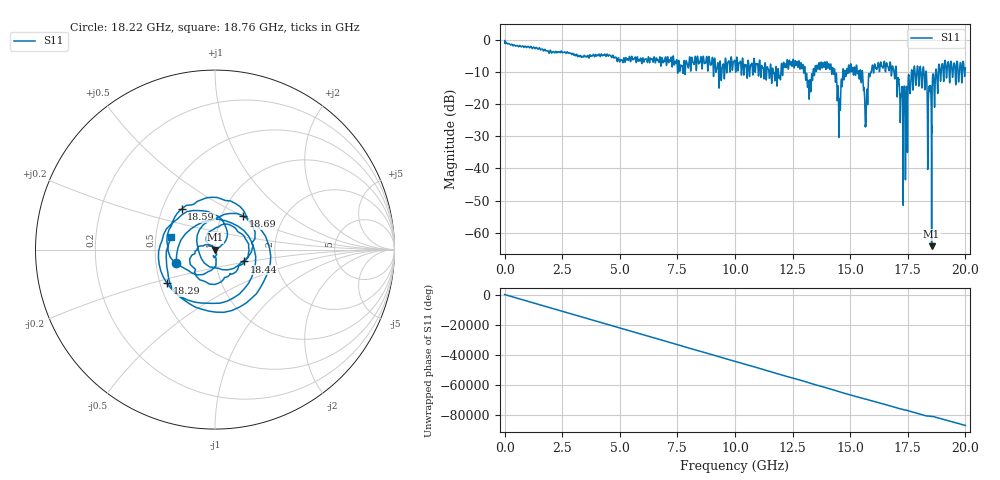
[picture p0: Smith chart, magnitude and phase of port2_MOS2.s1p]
! MS46122B
! 2250307/22442219
! 6/12/2025 7:36:36 AM
! C:\USERS\SPARKY\DOCUMENTS\VNA_DATA\JUNE12_2025\3.1 KELVIN\PORT2.S1P
! CHANNEL.1
! TR.MEASUREMENT
! RAW.DATA
# GHZ S RI R 50.0
! FREQ.GHZ  S11RE  S11IM
!; PortSelection: Port_1
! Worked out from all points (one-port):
!   10001 points, 1 MHz to 20 GHz, reference 50 ohm
!   lowest |S11| = -64.2 dB at 18.53 GHz (marker M1), VSWR 1.00, Z = 50 + j0.0495 ohm
!   |S11| at or under -10 dB: 15.53 GHz to 15.92 GHz (380.8 MHz wide, 2.42 % of centre); 17.01 GHz to 17.65 GHz (647.1 MHz wide, 3.73 % of centre); 18.3 GHz to 18.71 GHz (406.6 MHz wide, 2.2 % of centre) (the widest 3 of 63)
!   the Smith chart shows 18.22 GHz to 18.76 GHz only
!   S11 on the Smith chart (normalised r, x): 18.22 GHz: 0.64, -0.10; 18.29 GHz: 0.54, -0.23; 18.44 GHz: 1.38, -0.19; 18.59 GHz: 0.63, +0.31; 18.69 GHz: 1.26, +0.50; 18.76 GHz: 0.60, +0.09
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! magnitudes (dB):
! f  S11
! 1 MHz  -0.5
! 2.501 GHz  -3.9
! 5.001 GHz  -6.8
! 7.501 GHz  -9.1
! 10 GHz  -7.0
! 11.9 GHz  -10.6
! 12.5 GHz  -7.0
! 13.22 GHz  -18.5
! 14.07 GHz  -7.4
! 14.32 GHz  -9.1
! 14.51 GHz  -28.7
! 15 GHz  -8.7
! 15.46 GHz  -10.4
! 15.67 GHz  -26.3
! 15.89 GHz  -10.2
! 16.4 GHz  -8.4
! 16.92 GHz  -11.1
! 17.39 GHz  -26.6
! 17.5 GHz  -18.6
! 17.73 GHz  -15.5
! 18.22 GHz  -12.8
! 18.29 GHz  -9.7
! 18.44 GHz  -15.1
! 18.53 GHz  -64.2
! 18.59 GHz  -10.6
! 18.69 GHz  -12.2
! 18.76 GHz  -11.9
! 20 GHz  -8.7
